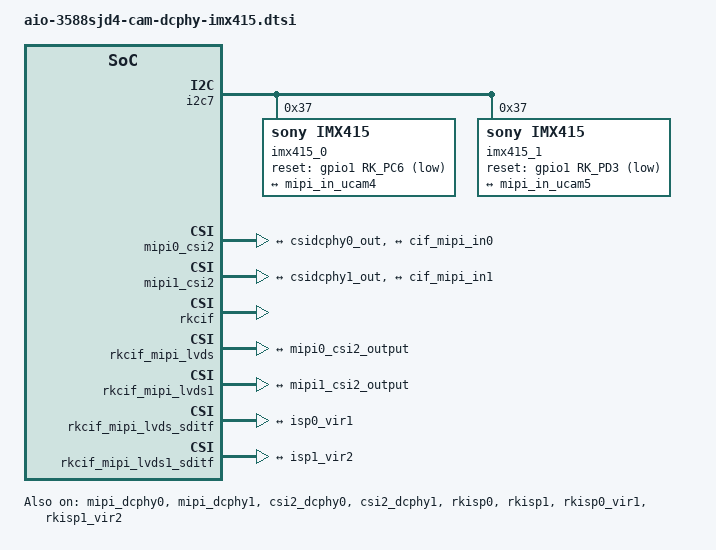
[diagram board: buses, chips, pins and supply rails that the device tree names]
// SPDX-License-Identifier: (GPL-2.0+ OR MIT)
/*
 * Copyright (c) 2021 Rockchip Electronics Co., Ltd.
 *
 */

/ {
	cam_ircut0: cam_ircut {
		status = "disabled";
		compatible = "rockchip,ircut";
		ircut-open-gpios = <&gpio4 RK_PA6 GPIO_ACTIVE_HIGH>;
		ircut-close-gpios  = <&gpio4 RK_PA7 GPIO_ACTIVE_HIGH>;
		rockchip,camera-module-index = <0>;
		rockchip,camera-module-facing = "back";
	};
	vcc_mipidphy0: vcc-mipidcphy0-regulator {
		status = "disabled";
		compatible = "regulator-fixed";
		gpio = <&gpio1 RK_PB1 GPIO_ACTIVE_HIGH>;
		pinctrl-names = "default";
		pinctrl-0 = <&mipidphy0_pwr>;
		regulator-name = "vcc_mipidphy0";
		enable-active-high;
	};
};

&mipi_dcphy0 {
        status = "okay";
};

&mipi_dcphy1 {
        status = "okay";
};


&csi2_dcphy0 {
	status = "okay";

        ports {
                #address-cells = <1>;
                #size-cells = <0>;
                port@0 {
                        reg = <0>;
                        #address-cells = <1>;
                        #size-cells = <0>;

                        mipi_in_ucam4: endpoint@4 {
                                reg = <4>;
                                remote-endpoint = <&imx415_out1>;
                                data-lanes = <1 2 3 4>;
                        };
                };
                port@1 {
                        reg = <1>;
                        #address-cells = <1>;
                        #size-cells = <0>;

                        csidcphy0_out: endpoint@0 {
                                reg = <0>;
                                remote-endpoint = <&mipi0_csi2_input>;
                        };
                };
        };
};

&csi2_dcphy1 {
        status = "okay";

        ports {
                #address-cells = <1>;
                #size-cells = <0>;
                port@0 {
                        reg = <0>;
                        #address-cells = <1>;
                        #size-cells = <0>;

                        mipi_in_ucam5: endpoint@5 {
                                reg = <5>;
                                remote-endpoint = <&imx415_out2>;
                                data-lanes = <1 2 3 4>;
                        };
                };
                port@1 {
                        reg = <1>;
                        #address-cells = <1>;
                        #size-cells = <0>;

                        csidcphy1_out: endpoint@0 {
                                reg = <0>;
                                remote-endpoint = <&mipi1_csi2_input>;
                        };
                };
        };
};


&i2c7 {
	status = "okay";
	pinctrl-names = "default";
	pinctrl-0 = <&i2c7m0_xfer>;

	imx415_0: imx415-0@37 {
		compatible = "sony,imx415";
		reg = <0x37>;
		clocks = <&cru CLK_MIPI_CAMARAOUT_M3>;
		clock-names = "xvclk";
		pinctrl-names = "default";
		pinctrl-0 = <&mipim0_camera3_clk>;
		power-domains = <&power RK3588_PD_VI>;

                reset-gpios = <&gpio1 RK_PC6 GPIO_ACTIVE_LOW>;

                firefly,clkout-enabled-index = <0>;
		rockchip,camera-module-index = <1>;
		rockchip,camera-module-facing = "back";
		rockchip,camera-module-name = "CMK-OT2022-PX1";
		rockchip,camera-module-lens-name = "IR0147-50IRC-8M-F20";
		//lens-focus = <&cam_ircut0>;
		port {
			imx415_out1: endpoint {
				remote-endpoint = <&mipi_in_ucam4>;
				data-lanes = <1 2 3 4>;
			};
		};
	};

	imx415_1: imx415-1@37 {
		compatible = "sony,imx415";
		reg = <0x37>;
		clocks = <&cru CLK_MIPI_CAMARAOUT_M4>;
		clock-names = "xvclk";
		pinctrl-names = "default";
		pinctrl-0 = <&mipim0_camera4_clk>;
		power-domains = <&power RK3588_PD_VI>;

                reset-gpios = <&gpio1 RK_PD3 GPIO_ACTIVE_LOW>;

                firefly,clkout-enabled-index = <0>;
		rockchip,camera-module-index = <2>;
		rockchip,camera-module-facing = "back";
		rockchip,camera-module-name = "CMK-OT2022-PX1";
		rockchip,camera-module-lens-name = "IR0147-50IRC-8M-F20";
		//lens-focus = <&cam_ircut0>;
		port {
			imx415_out2: endpoint {
				remote-endpoint = <&mipi_in_ucam5>;
				data-lanes = <1 2 3 4>;
			};
		};
	};

};

&mipi0_csi2 {
        status = "okay";

        ports {
                #address-cells = <1>;
                #size-cells = <0>;

                port@0 {
                        reg = <0>;
                        #address-cells = <1>;
                        #size-cells = <0>;

                        mipi0_csi2_input: endpoint@1 {
                                reg = <1>;
                                remote-endpoint = <&csidcphy0_out>;
                        };
                };

                port@1 {
                        reg = <1>;
                        #address-cells = <1>;
                        #size-cells = <0>;

                        mipi0_csi2_output: endpoint@0 {
                                reg = <0>;
                                remote-endpoint = <&cif_mipi_in0>;
                        };
                };
        };
};

&mipi1_csi2 {
        status = "okay";

        ports {
                #address-cells = <1>;
                #size-cells = <0>;

                port@0 {
                        reg = <0>;
                        #address-cells = <1>;
                        #size-cells = <0>;

                        mipi1_csi2_input: endpoint@1 {
                                reg = <1>;
                                remote-endpoint = <&csidcphy1_out>;
                        };
                };

                port@1 {
                        reg = <1>;
                        #address-cells = <1>;
                        #size-cells = <0>;

                        mipi1_csi2_output: endpoint@0 {
                                reg = <0>;
                                remote-endpoint = <&cif_mipi_in1>;
                        };
                };
        };
};


&rkcif {
	status = "okay";
};

&rkcif_mipi_lvds {
        status = "okay";

        port {
                cif_mipi_in0: endpoint {
                        remote-endpoint = <&mipi0_csi2_output>;
                };
        };
};

&rkcif_mipi_lvds1 {
        status = "okay";

        port {
                cif_mipi_in1: endpoint {
                        remote-endpoint = <&mipi1_csi2_output>;
                };
        };
};

&rkcif_mipi_lvds_sditf {
	status = "okay";

	port {
		mipi_lvds_sditf: endpoint {
			remote-endpoint = <&isp0_vir1>;
		};
	};
};

&rkcif_mipi_lvds1_sditf {
	status = "okay";

	port {
		mipi_lvds1_sditf: endpoint {
			remote-endpoint = <&isp1_vir2>;
		};
	};
};

&rkcif_mmu {
	status = "okay";
};

&rkisp0 {
	status = "okay";
};

&rkisp1 {
	status = "okay";
};

&isp0_mmu {
	status = "okay";
};

&isp1_mmu {
	status = "okay";
};

&rkisp0_vir1 {
	status = "okay";

	port {
		#address-cells = <1>;
		#size-cells = <0>;

		isp0_vir1: endpoint@0 {
			reg = <0>;
			remote-endpoint = <&mipi_lvds_sditf>;
		};
	};
};

&rkisp1_vir2 {
	status = "okay";

	port {
		#address-cells = <1>;
		#size-cells = <0>;

		isp1_vir2: endpoint@0 {
			reg = <0>;
			remote-endpoint = <&mipi_lvds1_sditf>;
		};
	};
};

